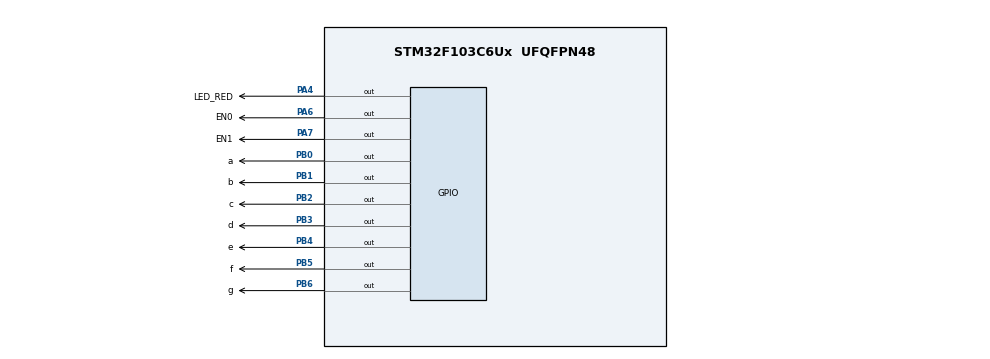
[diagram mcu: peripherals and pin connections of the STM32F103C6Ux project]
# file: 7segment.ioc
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Mcu.Family=STM32F1
Mcu.Name=STM32F103C6Ux
Mcu.Package=UFQFPN48
NVIC.PriorityGroup=NVIC_PRIORITYGROUP_4
NVIC.TIM2_IRQn=true\:0\:0\:false\:false\:true\:true\:true
PA4.GPIO_Label=LED_RED
PA4.Signal=GPIO_Output
PA6.GPIO_Label=EN0
PA6.Signal=GPIO_Output
PA7.GPIO_Label=EN1
PA7.Signal=GPIO_Output
PB0.GPIO_Label=a
PB0.Signal=GPIO_Output
PB1.GPIO_Label=b
PB1.Signal=GPIO_Output
PB2.GPIO_Label=c
PB2.Signal=GPIO_Output
PB3.GPIO_Label=d
PB3.Signal=GPIO_Output
PB4.GPIO_Label=e
PB4.Signal=GPIO_Output
PB5.GPIO_Label=f
PB5.Signal=GPIO_Output
PB6.GPIO_Label=g
PB6.Signal=GPIO_Output
ProjectManager.HeapSize=0x200
ProjectManager.StackSize=0x400
ProjectManager.TargetToolchain=STM32CubeIDE
RCC.APB1Freq_Value=8000000
RCC.APB2Freq_Value=8000000
TIM2.Period=9
TIM2.Prescaler=7999
VP_SYS_VS_ND.Mode=No_Debug
VP_TIM2_VS_ClockSourceINT.Mode=Internal
board=custom

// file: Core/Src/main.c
/* USER CODE BEGIN Header */
/**
  ******************************************************************************
  * @file           : main.c
  * @brief          : Main program body
  ******************************************************************************
  * @attention
  *
  * <h2><center>&copy; Copyright (c) 2022 STMicroelectronics.
  * All rights reserved.</center></h2>
  *
  * This software component is licensed by ST under BSD 3-Clause license,
  * the "License"; You may not use this file except in compliance with the
  * License. You may obtain a copy of the License at:
  *                        opensource.org/licenses/BSD-3-Clause
  *
  ******************************************************************************
  */
/* USER CODE END Header */
#include "main.h"

TIM_HandleTypeDef htim2;

void SystemClock_Config(void);
static void MX_GPIO_Init(void);
static void MX_TIM2_Init(void);

int main(void)
{

  /* MCU Configuration--------------------------------------------------------*/

  /* Reset of all peripherals, Initializes the Flash interface and the Systick. */
  HAL_Init();

  /* Configure the system clock */
  SystemClock_Config();

  /* Initialize all configured peripherals */
  MX_GPIO_Init();
  MX_TIM2_Init();
  /* USER CODE BEGIN 2 */
  HAL_TIM_Base_Start_IT(&htim2);
  void display7segment(int num);
  /* USER CODE END 2 */

  /* Infinite loop */
  while (1)
  {

  }
}

void SystemClock_Config(void)
{
  RCC_OscInitTypeDef RCC_OscInitStruct = {0};
  RCC_ClkInitTypeDef RCC_ClkInitStruct = {0};

  /** Initializes the RCC Oscillators according to the specified parameters
  * in the RCC_OscInitTypeDef structure.
  */
  RCC_OscInitStruct.OscillatorType = RCC_OSCILLATORTYPE_HSI;
  RCC_OscInitStruct.HSIState = RCC_HSI_ON;
  RCC_OscInitStruct.HSICalibrationValue = RCC_HSICALIBRATION_DEFAULT;
  RCC_OscInitStruct.PLL.PLLState = RCC_PLL_NONE;
  if (HAL_RCC_OscConfig(&RCC_OscInitStruct) != HAL_OK)
  {
    Error_Handler();
  }
  /** Initializes the CPU, AHB and APB buses clocks
  */
  RCC_ClkInitStruct.ClockType = RCC_CLOCKTYPE_HCLK|RCC_CLOCKTYPE_SYSCLK
                              |RCC_CLOCKTYPE_PCLK1|RCC_CLOCKTYPE_PCLK2;
  RCC_ClkInitStruct.SYSCLKSource = RCC_SYSCLKSOURCE_HSI;
  RCC_ClkInitStruct.AHBCLKDivider = RCC_SYSCLK_DIV1;
  RCC_ClkInitStruct.APB1CLKDivider = RCC_HCLK_DIV1;
  RCC_ClkInitStruct.APB2CLKDivider = RCC_HCLK_DIV1;

  if (HAL_RCC_ClockConfig(&RCC_ClkInitStruct, FLASH_LATENCY_0) != HAL_OK)
  {
    Error_Handler();
  }
}

static void MX_TIM2_Init(void)
{

  TIM_ClockConfigTypeDef sClockSourceConfig = {0};
  TIM_MasterConfigTypeDef sMasterConfig = {0};

  htim2.Instance = TIM2;
  htim2.Init.Prescaler = 7999;
  htim2.Init.CounterMode = TIM_COUNTERMODE_UP;
  htim2.Init.Period = 9;
  htim2.Init.ClockDivision = TIM_CLOCKDIVISION_DIV1;
  htim2.Init.AutoReloadPreload = TIM_AUTORELOAD_PRELOAD_DISABLE;
  if (HAL_TIM_Base_Init(&htim2) != HAL_OK)
  {
    Error_Handler();
  }
  sClockSourceConfig.ClockSource = TIM_CLOCKSOURCE_INTERNAL;
  if (HAL_TIM_ConfigClockSource(&htim2, &sClockSourceConfig) != HAL_OK)
  {
    Error_Handler();
  }
  sMasterConfig.MasterOutputTrigger = TIM_TRGO_RESET;
  sMasterConfig.MasterSlaveMode = TIM_MASTERSLAVEMODE_DISABLE;
  if (HAL_TIMEx_MasterConfigSynchronization(&htim2, &sMasterConfig) != HAL_OK)
  {
    Error_Handler();
  }

}

static void MX_GPIO_Init(void)
{
  GPIO_InitTypeDef GPIO_InitStruct = {0};

  /* GPIO Ports Clock Enable */
  __HAL_RCC_GPIOA_CLK_ENABLE();
  __HAL_RCC_GPIOB_CLK_ENABLE();

  /*Configure GPIO pin Output Level */
  HAL_GPIO_WritePin(GPIOA, LED_RED_Pin|EN0_Pin|EN1_Pin, GPIO_PIN_RESET);

  /*Configure GPIO pin Output Level */
  HAL_GPIO_WritePin(GPIOB, a_Pin|b_Pin|c_Pin|d_Pin
                          |e_Pin|f_Pin|g_Pin, GPIO_PIN_RESET);

  /*Configure GPIO pins : LED_RED_Pin EN0_Pin EN1_Pin */
  GPIO_InitStruct.Pin = LED_RED_Pin|EN0_Pin|EN1_Pin;
  GPIO_InitStruct.Mode = GPIO_MODE_OUTPUT_PP;
  GPIO_InitStruct.Pull = GPIO_NOPULL;
  GPIO_InitStruct.Speed = GPIO_SPEED_FREQ_LOW;
  HAL_GPIO_Init(GPIOA, &GPIO_InitStruct);

  /*Configure GPIO pins : a_Pin b_Pin c_Pin d_Pin
                           e_Pin f_Pin g_Pin */
  GPIO_InitStruct.Pin = a_Pin|b_Pin|c_Pin|d_Pin
                          |e_Pin|f_Pin|g_Pin;
  GPIO_InitStruct.Mode = GPIO_MODE_OUTPUT_PP;
  GPIO_InitStruct.Pull = GPIO_NOPULL;
  GPIO_InitStruct.Speed = GPIO_SPEED_FREQ_LOW;
  HAL_GPIO_Init(GPIOB, &GPIO_InitStruct);

}

/* USER CODE BEGIN 4 */
void display7segment(int num){
	if (num == 0){ /*Implement 0 on 7-segment led*/
		HAL_GPIO_WritePin(a_GPIO_Port, a_Pin, RESET);
		HAL_GPIO_WritePin(b_GPIO_Port, b_Pin, RESET);
		HAL_GPIO_WritePin(c_GPIO_Port, c_Pin, RESET);
		HAL_GPIO_WritePin(d_GPIO_Port, d_Pin, RESET);
		HAL_GPIO_WritePin(e_GPIO_Port, e_Pin, RESET);
		HAL_GPIO_WritePin(f_GPIO_Port, f_Pin, RESET);
		HAL_GPIO_WritePin(g_GPIO_Port, g_Pin, SET);
	}
	if (num == 1){/*Implement 1 on 7-segment led*/
		HAL_GPIO_WritePin(a_GPIO_Port, a_Pin, SET);
		HAL_GPIO_WritePin(b_GPIO_Port, b_Pin, RESET);
		HAL_GPIO_WritePin(c_GPIO_Port, c_Pin, RESET);
		HAL_GPIO_WritePin(d_GPIO_Port, d_Pin, SET);
		HAL_GPIO_WritePin(e_GPIO_Port, e_Pin, SET);
		HAL_GPIO_WritePin(f_GPIO_Port, f_Pin, SET);
		HAL_GPIO_WritePin(g_GPIO_Port, g_Pin, SET);
	}
	if (num == 2){ /*Implement 2 on 7-segment led*/
		HAL_GPIO_WritePin(a_GPIO_Port, a_Pin, RESET);
		HAL_GPIO_WritePin(b_GPIO_Port, b_Pin, RESET);
		HAL_GPIO_WritePin(c_GPIO_Port, c_Pin, SET);
		HAL_GPIO_WritePin(d_GPIO_Port, d_Pin, RESET);
		HAL_GPIO_WritePin(e_GPIO_Port, e_Pin, RESET);
		HAL_GPIO_WritePin(f_GPIO_Port, f_Pin, SET);
		HAL_GPIO_WritePin(g_GPIO_Port, g_Pin, RESET);
	}
	if (num == 3){ /*Implement 3 on 7-segment led*/
		HAL_GPIO_WritePin(a_GPIO_Port, a_Pin, RESET);
		HAL_GPIO_WritePin(b_GPIO_Port, b_Pin, RESET);
		HAL_GPIO_WritePin(c_GPIO_Port, c_Pin, RESET);
		HAL_GPIO_WritePin(d_GPIO_Port, d_Pin, RESET);
		HAL_GPIO_WritePin(e_GPIO_Port, e_Pin, SET);
		HAL_GPIO_WritePin(f_GPIO_Port, f_Pin, SET);
		HAL_GPIO_WritePin(g_GPIO_Port, g_Pin, RESET);
	}
	if (num == 4){ /*Implement 4 on 7-segment led*/
		HAL_GPIO_WritePin(a_GPIO_Port, a_Pin, SET);
		HAL_GPIO_WritePin(b_GPIO_Port, b_Pin, RESET);
		HAL_GPIO_WritePin(c_GPIO_Port, c_Pin, RESET);
		HAL_GPIO_WritePin(d_GPIO_Port, d_Pin, SET);
		HAL_GPIO_WritePin(e_GPIO_Port, e_Pin, SET);
		HAL_GPIO_WritePin(f_GPIO_Port, f_Pin, RESET);
		HAL_GPIO_WritePin(g_GPIO_Port, g_Pin, RESET);
	}
	if (num == 5){ /*Implement 5 on 7-segment led*/
		HAL_GPIO_WritePin(a_GPIO_Port, a_Pin, RESET);
		HAL_GPIO_WritePin(b_GPIO_Port, b_Pin, SET);
		HAL_GPIO_WritePin(c_GPIO_Port, c_Pin, RESET);
		HAL_GPIO_WritePin(d_GPIO_Port, d_Pin, RESET);
		HAL_GPIO_WritePin(e_GPIO_Port, e_Pin, SET);
		HAL_GPIO_WritePin(f_GPIO_Port, f_Pin, RESET);
		HAL_GPIO_WritePin(g_GPIO_Port, g_Pin, RESET);
	}
	if (num == 6){ /*Implement 6 on 7-segment led*/
		HAL_GPIO_WritePin(a_GPIO_Port, a_Pin, RESET);
		HAL_GPIO_WritePin(b_GPIO_Port, b_Pin, SET);
		HAL_GPIO_WritePin(c_GPIO_Port, c_Pin, RESET);
		HAL_GPIO_WritePin(d_GPIO_Port, d_Pin, RESET);
		HAL_GPIO_WritePin(e_GPIO_Port, e_Pin, RESET);
		HAL_GPIO_WritePin(f_GPIO_Port, f_Pin, RESET);
		HAL_GPIO_WritePin(g_GPIO_Port, g_Pin, RESET);
	}
	if (num == 7){ /*Implement 7 on 7-segment led*/
		HAL_GPIO_WritePin(a_GPIO_Port, a_Pin, RESET);
		HAL_GPIO_WritePin(b_GPIO_Port, b_Pin, RESET);
		HAL_GPIO_WritePin(c_GPIO_Port, c_Pin, RESET);
		HAL_GPIO_WritePin(d_GPIO_Port, d_Pin, SET);
		HAL_GPIO_WritePin(e_GPIO_Port, e_Pin, SET);
		HAL_GPIO_WritePin(f_GPIO_Port, f_Pin, SET);
		HAL_GPIO_WritePin(g_GPIO_Port, g_Pin, SET);
	}
	if (num == 8){ /*Implement 8 on 7-segment led*/
		HAL_GPIO_WritePin(a_GPIO_Port, a_Pin, RESET);
		HAL_GPIO_WritePin(b_GPIO_Port, b_Pin, RESET);
		HAL_GPIO_WritePin(c_GPIO_Port, c_Pin, RESET);
		HAL_GPIO_WritePin(d_GPIO_Port, d_Pin, RESET);
		HAL_GPIO_WritePin(e_GPIO_Port, e_Pin, RESET);
		HAL_GPIO_WritePin(f_GPIO_Port, f_Pin, RESET);
		HAL_GPIO_WritePin(g_GPIO_Port, g_Pin, RESET);
	}
	if (num == 9){ /*Implement 9 on 7-segment led*/
		HAL_GPIO_WritePin(a_GPIO_Port, a_Pin, RESET);
		HAL_GPIO_WritePin(b_GPIO_Port, b_Pin, RESET);
		HAL_GPIO_WritePin(c_GPIO_Port, c_Pin, RESET);
		HAL_GPIO_WritePin(d_GPIO_Port, d_Pin, RESET);
		HAL_GPIO_WritePin(e_GPIO_Port, e_Pin, SET);
		HAL_GPIO_WritePin(f_GPIO_Port, f_Pin, RESET);
		HAL_GPIO_WritePin(g_GPIO_Port, g_Pin, RESET);
	}
}
int counter = 50;
int temp = 1;  //Choose 7SEG turn on
void HAL_TIM_PeriodElapsedCallback(TIM_HandleTypeDef*htim){
	counter--;
	if(counter <= 0) {
		counter = 50;
		//TODO
		if (temp == 1){ // Turn on first 7SEG
			HAL_GPIO_WritePin(EN0_GPIO_Port, EN0_Pin, RESET);
			HAL_GPIO_WritePin(EN1_GPIO_Port, EN1_Pin, SET);
			display7segment(1);
			temp = 2;
		} else
		if (temp == 2){ // Turn on second 7SEG
			HAL_GPIO_WritePin(EN0_GPIO_Port, EN0_Pin, SET);
			HAL_GPIO_WritePin(EN1_GPIO_Port, EN1_Pin, RESET);
			display7segment(2);
			temp = 1;
		}
	}
}
/* USER CODE END 4 */

void Error_Handler(void)
{
  __disable_irq();
  while (1)
  {
  }
}

/************************ (C) COPYRIGHT STMicroelectronics *****END OF FILE****/
